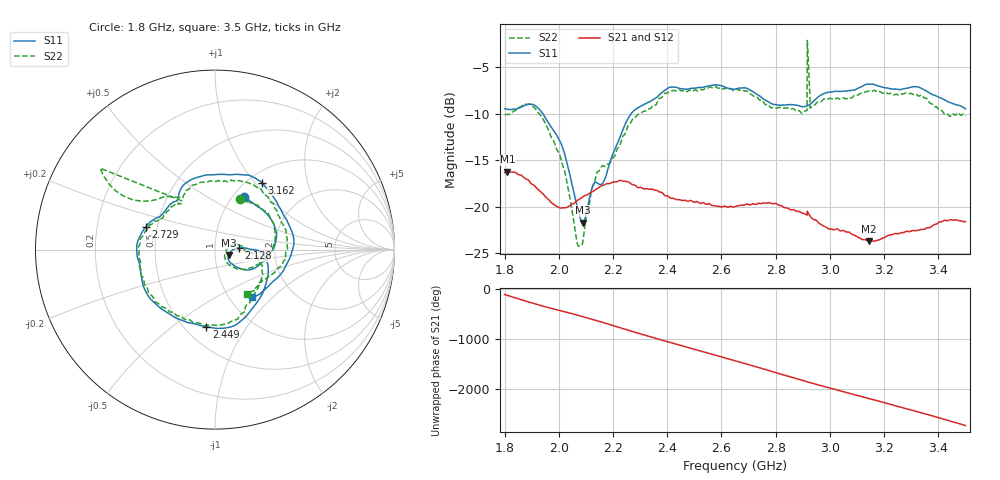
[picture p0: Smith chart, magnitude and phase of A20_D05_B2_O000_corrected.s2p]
! Created with skrf 1.9.0 (http://scikit-rf.org).
# Hz S RI R 50.0
!freq ReS11 ImS11 ReS21 ImS21 ReS12 ImS12 ReS22 ImS22
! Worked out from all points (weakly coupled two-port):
!   1601 points, 1.8 GHz to 3.5 GHz, reference 50 ohm
!   highest |S21| = -16.23 dB at 1.811 GHz (marker M1); lowest = -23.7 dB at 3.144 GHz (marker M2)
!   lowest |S11| = -21.7 dB at 2.089 GHz (marker M3), VSWR 1.18, Z = 58.2 - j3.54 ohm
!   |S11| at or under -10 dB: 1.942 GHz to 2.266 GHz (324.8 MHz wide, 15.4 % of centre)
!   |S22| runs from -24.2 to -2.1 dB; largest |S21 - S12| = 0.0029
!   S11 on the Smith chart (normalised r, x): 1.8 GHz: 1.12, +0.75; 2.128 GHz: 1.31, +0.02; 2.449 GHz: 0.63, -0.67; 2.729 GHz: 0.43, +0.13; 3.162 GHz: 1.16, +1.09; 3.5 GHz: 1.27, -0.76
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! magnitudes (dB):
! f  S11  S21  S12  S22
! 1.8 GHz  -9.4  -16.3  -16.3  -10.1
! 1.811 GHz  -9.5  -16.2  -16.2  -10.1
! 1.883 GHz  -9.0  -17.0  -17.1  -9.0
! 1.94 GHz  -9.9  -18.6  -18.6  -10.5
! 2.013 GHz  -13.5  -20.1  -20.1  -15.4
! 2.067 GHz  -19.8  -19.3  -19.3  -23.8
! 2.084 GHz  -21.5  -19.0  -19.0  -24.2
! 2.089 GHz  -21.7  -18.9  -18.9  -23.7
! 2.128 GHz  -17.5  -18.3  -18.3  -17.6
! 2.167 GHz  -17.2  -17.7  -17.6  -15.6
! 2.266 GHz  -10.0  -17.5  -17.5  -10.9
! 2.367 GHz  -8.1  -18.3  -18.3  -8.4
! 2.449 GHz  -7.3  -19.3  -19.3  -7.5
! 2.65 GHz  -7.3  -20.0  -20.0  -7.5
! 2.729 GHz  -7.9  -19.7  -19.7  -8.2
! 2.901 GHz  -9.2  -20.7  -20.7  -9.9
! 2.925 GHz  -9.0  -20.9  -20.9  -7.4
! 2.934 GHz  -8.8  -21.2  -21.2  -9.2
! 3.144 GHz  -6.8  -23.7  -23.6  -7.5
! 3.162 GHz  -6.8  -23.7  -23.6  -7.5
! 3.217 GHz  -7.3  -23.0  -23.0  -7.8
! 3.5 GHz  -9.5  -21.6  -21.6  -10.2
